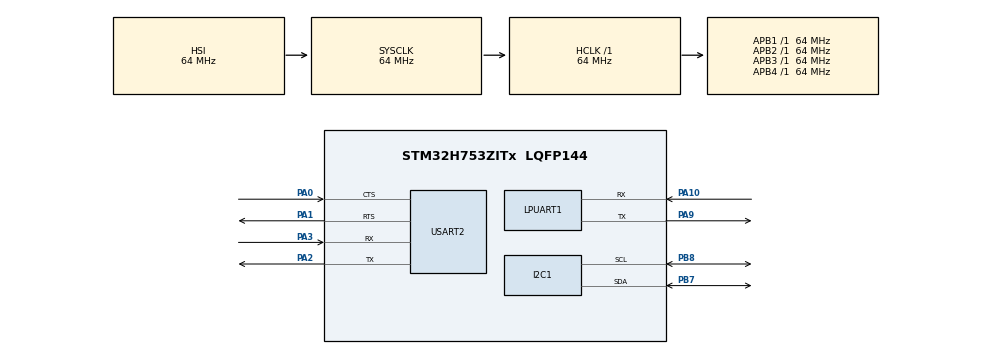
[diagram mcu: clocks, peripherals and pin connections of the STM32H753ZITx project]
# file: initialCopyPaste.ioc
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CORTEX_M7.CPU_DCache=Disabled
CORTEX_M7.CPU_ICache=Disabled
CORTEX_M7.MPU_Control=MPU_PRIVILEGED_DEFAULT
CORTEX_M7.default_mode_Activation=1
Mcu.Family=STM32H7
Mcu.Name=STM32H753ZITx
Mcu.Package=LQFP144
NUCLEO-H753ZI.BUTTON=1
NUCLEO-H753ZI.Bsp_Common_DEMO=true
NUCLEO-H753ZI.LD1=true
NUCLEO-H753ZI.LD2=true
NUCLEO-H753ZI.LD3=true
NUCLEO-H753ZI.VCP=true
NVIC.EXTI15_10_IRQn=true\:0\:0\:false\:false\:true\:false\:true\:true
NVIC.PriorityGroup=NVIC_PRIORITYGROUP_4
PA0.Mode=CTS_RTS
PA0.Signal=USART2_CTS
PA1.Mode=CTS_RTS
PA1.Signal=USART2_RTS
PA10.Mode=Asynchronous
PA10.Signal=LPUART1_RX
PA2.Mode=Asynchronous
PA2.Signal=USART2_TX
PA3.Mode=Asynchronous
PA3.Signal=USART2_RX
PA9.Mode=Asynchronous
PA9.Signal=LPUART1_TX
PB5.Signal=I2C1_SMBA
PB7.Mode=I2C
PB7.Signal=I2C1_SDA
PB8.Mode=I2C
PB8.Signal=I2C1_SCL
PC14-OSC32_IN\ (OSC32_IN).Mode=LSE-External-Oscillator
PC14-OSC32_IN\ (OSC32_IN).Signal=RCC_OSC32_IN
PC15-OSC32_OUT\ (OSC32_OUT).Mode=LSE-External-Oscillator
PC15-OSC32_OUT\ (OSC32_OUT).Signal=RCC_OSC32_OUT
PD8.Signal=USART3_TX
PD9.Signal=USART3_RX
PH0-OSC_IN\ (PH0).Mode=HSE-External-Oscillator
PH0-OSC_IN\ (PH0).Signal=RCC_OSC_IN
PH1-OSC_OUT\ (PH1).Mode=HSE-External-Oscillator
PH1-OSC_OUT\ (PH1).Signal=RCC_OSC_OUT
ProjectManager.HeapSize=0x200
ProjectManager.StackSize=0x400
ProjectManager.TargetToolchain=CMake
RCC.ADCFreq_Value=129000000
RCC.APB1Freq_Value=64000000
RCC.APB2Freq_Value=64000000
RCC.APB3Freq_Value=64000000
RCC.APB4Freq_Value=64000000
RCC.CortexFreq_Value=64000000
RCC.DIVM1=1
RCC.DIVN1=24
RCC.DIVQ1=4
RCC.HCLKFreq_Value=64000000
RCC.HSE_VALUE=8000000
RCC.PLLFRACN=0
RCC.PWR_Regulator_Voltage_Scale=PWR_REGULATOR_VOLTAGE_SCALE2
RCC.SYSCLKFreq_VALUE=64000000
RCC.USBFreq_Value=384000000
USART2.VirtualMode-Asynchronous=VM_ASYNC
VP_MEMORYMAP_VS_MEMORYMAP.Mode=CurAppReg
VP_NUCLEO-H753ZI_VS_BSP_COMMON.Mode=COMMON
board=NUCLEO-H753ZI

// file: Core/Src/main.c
/* USER CODE BEGIN Header */
/**
 ******************************************************************************
 * @file           : main.c
 * @brief          : Main program body
 ******************************************************************************
 * @attention
 *
 * Copyright (c) 2026 STMicroelectronics.
 * All rights reserved.
 *
 * This software is licensed under terms that can be found in the LICENSE file
 * in the root directory of this software component.
 * If no LICENSE file comes with this software, it is provided AS-IS.
 *
 ******************************************************************************
 */
/* USER CODE END Header */
#include "main.h"
#include "stm32h7xx_hal.h"
#include "stm32h7xx_hal_def.h"
#include "stm32h7xx_hal_i2c.h"
#include <stdint.h>
#include <stdio.h>

COM_InitTypeDef BspCOMInit;
__IO uint32_t BspButtonState = BUTTON_RELEASED;

I2C_HandleTypeDef hi2c1;

UART_HandleTypeDef hlpuart1;
UART_HandleTypeDef huart2;

void SystemClock_Config(void);
static void MPU_Config(void);
static void MX_GPIO_Init(void);
static void MX_I2C1_Init(void);
static void MX_LPUART1_UART_Init(void);
static void MX_USART2_UART_Init(void);

int main(void) {

  /* MPU Configuration--------------------------------------------------------*/
  MPU_Config();

  /* MCU Configuration--------------------------------------------------------*/

  /* Reset of all peripherals, Initializes the Flash interface and the Systick.
   */
  HAL_Init();

  /* Configure the system clock */
  SystemClock_Config();

  /* Initialize all configured peripherals */
  MX_GPIO_Init();
  MX_I2C1_Init();
  MX_LPUART1_UART_Init();
  MX_USART2_UART_Init();

  /* Initialize leds */
  BSP_LED_Init(LED_GREEN);
  BSP_LED_Init(LED_YELLOW);
  BSP_LED_Init(LED_RED);

  /* Initialize USER push-button, will be used to trigger an interrupt each time
   * it's pressed.*/
  BSP_PB_Init(BUTTON_USER, BUTTON_MODE_EXTI);

  /* Initialize COM1 port (115200, 8 bits (7-bit data + 1 stop bit), no parity
   */
  BspCOMInit.BaudRate = 115200;
  BspCOMInit.WordLength = COM_WORDLENGTH_8B;
  BspCOMInit.StopBits = COM_STOPBITS_1;
  BspCOMInit.Parity = COM_PARITY_NONE;
  BspCOMInit.HwFlowCtl = COM_HWCONTROL_NONE;
  if (BSP_COM_Init(COM1, &BspCOMInit) != BSP_ERROR_NONE) {
    Error_Handler();
  }

  /* USER CODE BEGIN BSP */

  /* -- Sample board code to send message over COM1 port ---- */
  printf("Welcome to STM32 world !\n\r");

  /* -- Sample board code to switch on leds ---- */
  BSP_LED_On(LED_GREEN);
  BSP_LED_On(LED_YELLOW);
  BSP_LED_On(LED_RED);

  /* USER CODE END BSP */

  /* Infinite loop */
  /* USER CODE BEGIN WHILE */
#include <stdio.h>
#include <string.h>

  uint8_t buf[12];
  // strcpy((char *)buf, "Hello!\r\n");

  static const uint8_t TMP103_ADDR = 0x70 << 1;
  static const uint8_t TEMP_REG = 0x00;
  HAL_StatusTypeDef ret_status;
  // int16_t ret_val;
  float temp_val;

  while (1) {

    // ret_status =
    //     HAL_I2C_Master_Transmit(&hi2c1, TMP103_ADDR, buf, 1, HAL_MAX_DELAY);

    buf[0] = TEMP_REG;

    if (HAL_I2C_Mem_Read(&hi2c1, TMP103_ADDR, TEMP_REG, I2C_MEMADD_SIZE_8BIT,
                         buf, 1, 1000) != HAL_OK) {
      strcpy((char *)buf, "Error Tx\r\n");
      HAL_UART_Transmit(&huart2, buf, strlen((char *)buf), HAL_MAX_DELAY);
      continue;
    } else {
      int8_t ret_val;
      ret_val = (int8_t)buf[0];
      HAL_UART_Transmit(&huart2, buf, strlen((char *)buf), HAL_MAX_DELAY);
      temp_val = ret_val;
      temp_val *= 100;
      sprintf((char *)buf, "%u.%0.2u C\r\n", (unsigned int)temp_val / 100,
              (unsigned int)temp_val % 100);
    }

    // if (HAL_I2C_Master_Transmit(&hi2c1, (0x70), buf, 1, 1000) != HAL_OK) {
    //   strcpy((char *)buf, "Error 70\r\n");
    //   HAL_UART_Transmit(&huart2, buf, strlen((char *)buf), HAL_MAX_DELAY);
    // }
    // if (HAL_I2C_Master_Transmit(&hi2c1, TMP103_ADDR, buf, 1, 1000) != HAL_OK)
    // {
    //   strcpy((char *)buf, "Error Tx\r\n");
    //   HAL_UART_Transmit(&huart2, buf, strlen((char *)buf), HAL_MAX_DELAY);
    //   continue;
    // }

    // if (ret_status != HAL_OK) {
    //   strcpy((char *)buf, "Error Tx\r\n");
    // } else {
    //   ret_status =
    //       HAL_I2C_Master_Receive(&hi2c1, TMP103_ADDR, buf, 1, HAL_MAX_DELAY);
    //   if (ret_status != HAL_OK) {
    //     strcpy((char *)buf, "Error Rx\r\n");
    //   } else {
    //     // ret_val = ((int16_t)buf[0] << 4) | ((int16_t)buf[1] >> 4);
    //     // if (ret_val > 0x7FFF) {
    //     //   ret_val |= 0xF000;
    //     // }

    //     int8_t ret_val;
    //     ret_val = (int8_t)buf[0];
    //     // temp_val = ret_val * 0.0625;
    //     temp_val = ret_val;
    //     temp_val *= 100;
    //     sprintf((char *)buf, "%u.%0.2u C\r\n", (unsigned int)temp_val / 100,
    //             (unsigned int)temp_val % 100);
    //   }
    // }

    /* -- Sample board code for User push-button in interrupt mode ---- */
    if (BspButtonState == BUTTON_PRESSED) {
      /* Update button state */
      BspButtonState = BUTTON_RELEASED;
      /* -- Sample board code to toggle leds ---- */
      BSP_LED_Toggle(LED_GREEN);
      BSP_LED_Toggle(LED_YELLOW);
      BSP_LED_Toggle(LED_RED);

      /* ..... Perform your action ..... */
    }
    HAL_UART_Transmit(&huart2, buf, strlen((char *)buf), HAL_MAX_DELAY);
    /* USER CODE END WHILE */
    /* USER CODE BEGIN 3 */
    HAL_Delay(1000);
  }
  /* USER CODE END 3 */
}

void SystemClock_Config(void) {
  RCC_OscInitTypeDef RCC_OscInitStruct = {0};
  RCC_ClkInitTypeDef RCC_ClkInitStruct = {0};

  /** Supply configuration update enable
   */
  HAL_PWREx_ConfigSupply(PWR_LDO_SUPPLY);

  /** Configure the main internal regulator output voltage
   */
  __HAL_PWR_VOLTAGESCALING_CONFIG(PWR_REGULATOR_VOLTAGE_SCALE2);

  while (!__HAL_PWR_GET_FLAG(PWR_FLAG_VOSRDY)) {
  }

  /** Initializes the RCC Oscillators according to the specified parameters
   * in the RCC_OscInitTypeDef structure.
   */
  RCC_OscInitStruct.OscillatorType = RCC_OSCILLATORTYPE_HSI;
  RCC_OscInitStruct.HSIState = RCC_HSI_DIV1;
  RCC_OscInitStruct.HSICalibrationValue = RCC_HSICALIBRATION_DEFAULT;
  RCC_OscInitStruct.PLL.PLLState = RCC_PLL_NONE;
  if (HAL_RCC_OscConfig(&RCC_OscInitStruct) != HAL_OK) {
    Error_Handler();
  }

  /** Initializes the CPU, AHB and APB buses clocks
   */
  RCC_ClkInitStruct.ClockType = RCC_CLOCKTYPE_HCLK | RCC_CLOCKTYPE_SYSCLK |
                                RCC_CLOCKTYPE_PCLK1 | RCC_CLOCKTYPE_PCLK2 |
                                RCC_CLOCKTYPE_D3PCLK1 | RCC_CLOCKTYPE_D1PCLK1;
  RCC_ClkInitStruct.SYSCLKSource = RCC_SYSCLKSOURCE_HSI;
  RCC_ClkInitStruct.SYSCLKDivider = RCC_SYSCLK_DIV1;
  RCC_ClkInitStruct.AHBCLKDivider = RCC_HCLK_DIV1;
  RCC_ClkInitStruct.APB3CLKDivider = RCC_APB3_DIV1;
  RCC_ClkInitStruct.APB1CLKDivider = RCC_APB1_DIV1;
  RCC_ClkInitStruct.APB2CLKDivider = RCC_APB2_DIV1;
  RCC_ClkInitStruct.APB4CLKDivider = RCC_APB4_DIV1;

  if (HAL_RCC_ClockConfig(&RCC_ClkInitStruct, FLASH_LATENCY_1) != HAL_OK) {
    Error_Handler();
  }
}

static void MX_I2C1_Init(void) {

  hi2c1.Instance = I2C1;
  hi2c1.Init.Timing = 0x10707DBC;
  hi2c1.Init.OwnAddress1 = 0;
  hi2c1.Init.AddressingMode = I2C_ADDRESSINGMODE_7BIT;
  hi2c1.Init.DualAddressMode = I2C_DUALADDRESS_DISABLE;
  hi2c1.Init.OwnAddress2 = 0;
  hi2c1.Init.OwnAddress2Masks = I2C_OA2_NOMASK;
  hi2c1.Init.GeneralCallMode = I2C_GENERALCALL_DISABLE;
  hi2c1.Init.NoStretchMode = I2C_NOSTRETCH_DISABLE;
  if (HAL_I2C_Init(&hi2c1) != HAL_OK) {
    Error_Handler();
  }

  /** Configure Analogue filter
   */
  if (HAL_I2CEx_ConfigAnalogFilter(&hi2c1, I2C_ANALOGFILTER_ENABLE) != HAL_OK) {
    Error_Handler();
  }

  /** Configure Digital filter
   */
  if (HAL_I2CEx_ConfigDigitalFilter(&hi2c1, 0) != HAL_OK) {
    Error_Handler();
  }
}

static void MX_LPUART1_UART_Init(void) {

  hlpuart1.Instance = LPUART1;
  hlpuart1.Init.BaudRate = 209700;
  hlpuart1.Init.WordLength = UART_WORDLENGTH_8B;
  hlpuart1.Init.StopBits = UART_STOPBITS_1;
  hlpuart1.Init.Parity = UART_PARITY_NONE;
  hlpuart1.Init.Mode = UART_MODE_TX_RX;
  hlpuart1.Init.HwFlowCtl = UART_HWCONTROL_NONE;
  hlpuart1.Init.OneBitSampling = UART_ONE_BIT_SAMPLE_DISABLE;
  hlpuart1.Init.ClockPrescaler = UART_PRESCALER_DIV1;
  hlpuart1.AdvancedInit.AdvFeatureInit = UART_ADVFEATURE_NO_INIT;
  hlpuart1.FifoMode = UART_FIFOMODE_DISABLE;
  if (HAL_UART_Init(&hlpuart1) != HAL_OK) {
    Error_Handler();
  }
  if (HAL_UARTEx_SetTxFifoThreshold(&hlpuart1, UART_TXFIFO_THRESHOLD_1_8) !=
      HAL_OK) {
    Error_Handler();
  }
  if (HAL_UARTEx_SetRxFifoThreshold(&hlpuart1, UART_RXFIFO_THRESHOLD_1_8) !=
      HAL_OK) {
    Error_Handler();
  }
  if (HAL_UARTEx_DisableFifoMode(&hlpuart1) != HAL_OK) {
    Error_Handler();
  }
}

static void MX_USART2_UART_Init(void) {

  huart2.Instance = USART2;
  huart2.Init.BaudRate = 115200;
  huart2.Init.WordLength = UART_WORDLENGTH_8B;
  huart2.Init.StopBits = UART_STOPBITS_1;
  huart2.Init.Parity = UART_PARITY_NONE;
  huart2.Init.Mode = UART_MODE_TX_RX;
  huart2.Init.HwFlowCtl = UART_HWCONTROL_RTS_CTS;
  huart2.Init.OverSampling = UART_OVERSAMPLING_16;
  huart2.Init.OneBitSampling = UART_ONE_BIT_SAMPLE_DISABLE;
  huart2.Init.ClockPrescaler = UART_PRESCALER_DIV1;
  huart2.AdvancedInit.AdvFeatureInit = UART_ADVFEATURE_NO_INIT;
  if (HAL_UART_Init(&huart2) != HAL_OK) {
    Error_Handler();
  }
  if (HAL_UARTEx_SetTxFifoThreshold(&huart2, UART_TXFIFO_THRESHOLD_1_8) !=
      HAL_OK) {
    Error_Handler();
  }
  if (HAL_UARTEx_SetRxFifoThreshold(&huart2, UART_RXFIFO_THRESHOLD_1_8) !=
      HAL_OK) {
    Error_Handler();
  }
  if (HAL_UARTEx_DisableFifoMode(&huart2) != HAL_OK) {
    Error_Handler();
  }
}

static void MX_GPIO_Init(void) {

  /* GPIO Ports Clock Enable */
  __HAL_RCC_GPIOC_CLK_ENABLE();
  __HAL_RCC_GPIOH_CLK_ENABLE();
  __HAL_RCC_GPIOA_CLK_ENABLE();
  __HAL_RCC_GPIOB_CLK_ENABLE();

}

/* MPU Configuration */

void MPU_Config(void) {
  MPU_Region_InitTypeDef MPU_InitStruct = {0};

  /* Disables the MPU */
  HAL_MPU_Disable();

  /** Initializes and configures the Region and the memory to be protected
   */
  MPU_InitStruct.Enable = MPU_REGION_ENABLE;
  MPU_InitStruct.Number = MPU_REGION_NUMBER0;
  MPU_InitStruct.BaseAddress = 0x0;
  MPU_InitStruct.Size = MPU_REGION_SIZE_4GB;
  MPU_InitStruct.SubRegionDisable = 0x87;
  MPU_InitStruct.TypeExtField = MPU_TEX_LEVEL0;
  MPU_InitStruct.AccessPermission = MPU_REGION_NO_ACCESS;
  MPU_InitStruct.DisableExec = MPU_INSTRUCTION_ACCESS_DISABLE;
  MPU_InitStruct.IsShareable = MPU_ACCESS_SHAREABLE;
  MPU_InitStruct.IsCacheable = MPU_ACCESS_NOT_CACHEABLE;
  MPU_InitStruct.IsBufferable = MPU_ACCESS_NOT_BUFFERABLE;

  HAL_MPU_ConfigRegion(&MPU_InitStruct);
  /* Enables the MPU */
  HAL_MPU_Enable(MPU_PRIVILEGED_DEFAULT);
}

/**
 * @brief BSP Push Button callback
 * @param Button Specifies the pressed button
 * @retval None
 */
void BSP_PB_Callback(Button_TypeDef Button) {
  if (Button == BUTTON_USER) {
    BspButtonState = BUTTON_PRESSED;
  }
}

void Error_Handler(void) {
  __disable_irq();
  while (1) {
  }
}
#ifdef USE_FULL_ASSERT
/**
 * @brief  Reports the name of the source file and the source line number
 *         where the assert_param error has occurred.
 * @param  file: pointer to the source file name
 * @param  line: assert_param error line source number
 * @retval None
 */
void assert_failed(uint8_t *file, uint32_t line) {
  /* USER CODE BEGIN 6 */
  /* User can add his own implementation to report the file name and line
     number, ex: printf("Wrong parameters value: file %s on line %d\r\n", file,
     line) */
  /* USER CODE END 6 */
}
#endif /* USE_FULL_ASSERT */
